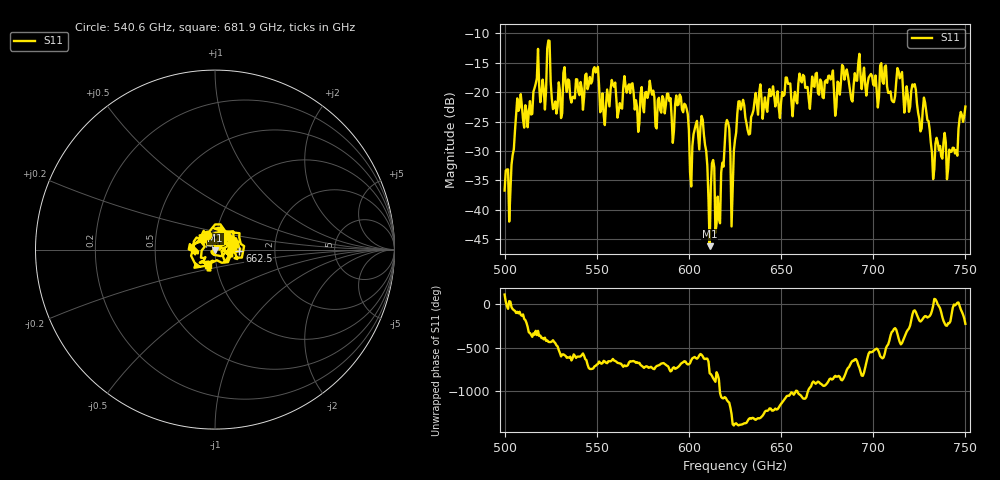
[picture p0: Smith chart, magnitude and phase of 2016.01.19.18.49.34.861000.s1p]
!Created with skrf (http://scikit-rf.org).
# GHz S RI R 50.0
!freq ReS11 ImS11
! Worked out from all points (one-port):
!   401 points, 500 GHz to 750 GHz, reference 50 ohm
!   lowest |S11| = -46.2 dB at 611.2 GHz (marker M1), VSWR 1.01, Z = 50.1 - j0.469 ohm
!   |S11| at or under -10 dB: start of sweep to end of sweep
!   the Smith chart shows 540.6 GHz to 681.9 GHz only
!   S11 on the Smith chart (normalised r, x): 540.6 GHz: 0.90, +0.15; 662.5 GHz: 1.32, -0.02; 681.9 GHz: 0.92, -0.16
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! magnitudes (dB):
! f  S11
! 500 GHz  -36.7
! 503.8 GHz  -32.3
! 507.5 GHz  -23.2
! 523.8 GHz  -11.2
! 526.9 GHz  -22.6
! 531.2 GHz  -23.5
! 540.6 GHz  -20.5
! 549.4 GHz  -16.6
! 553.1 GHz  -20.2
! 562.5 GHz  -21.9
! 593.8 GHz  -22.2
! 601.2 GHz  -36.0
! 607.5 GHz  -24.7
! 611.2 GHz  -46.2
! 615.6 GHz  -37.7
! 620.6 GHz  -24.7
! 623.1 GHz  -42.8
! 625 GHz  -28.1
! 628.1 GHz  -22.9
! 656.2 GHz  -24.1
! 662.5 GHz  -17.3
! 681.9 GHz  -20.4
! 687.5 GHz  -19.9
! 714.4 GHz  -17.6
! 718.8 GHz  -20.5
! 728.8 GHz  -23.2
! 732.5 GHz  -34.8
! 750 GHz  -22.4
